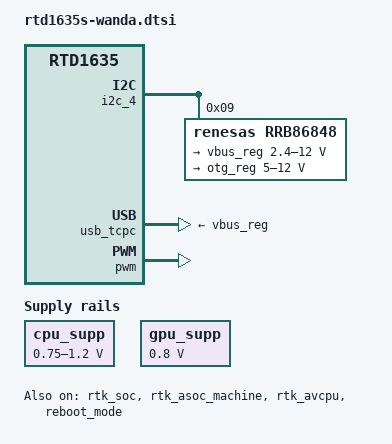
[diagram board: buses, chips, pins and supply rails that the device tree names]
// SPDX-License-Identifier: (GPL-2.0-or-later OR BSD-2-Clause)
/*
 * Realtek RTD1635S Wanda EVB
 *
 * Copyright (c) 2025 Realtek Semiconductor Corp.
 */

/dts-v1/;

#include <dt-bindings/thermal/thermal.h>
#include "rtd1635.dtsi"

/ {
	chosen {
		bootargs = "earlycon=uart8250,mmio32,0x98007800 console=ttyS0,460800 8250.nr_uarts=2 8250.share_irqs=1 init=/init loglevel=8 max_loop=64 loop.max_part=7 firmware_class.path=/vendor/firmware/";
		stdout-path = "serial0:460800n8";
	};
};

&rtk_pm {
	wakeup-gpio-list = <120 GPIO_WAKEUP_ENABLE GPIO_WAKEUP_ACTIVE_LOW>,
			   <129 GPIO_WAKEUP_ENABLE GPIO_WAKEUP_ACTIVE_LOW>;
};

&rtk_soc {
	status = "okay";
};

&rtk_asoc_machine {
	pinctrl-names = "default";
	pinctrl-0 = <&ao_i2s0_pins>,
		    <&ao_spdif_pins>,
		    <&pcm_pins>;
	realtek,audio-platform = <&rtk_soc>;
	realtek,dai-link = "RDAI_DL0_FE", "RDAI_DL1_FE", "RDAI_DL2_FE",
			   "RDAI_UL0_FE", "RDAI_UL1_FE",
			   "RDAI_SOC_AO0", "RDAI_SOC_I2S", "RDAI_SOC_I2S0_LOOPBACK";
	status = "okay";
};

&rfkill {
	rfkill-gpios = <&gpio 119 GPIO_ACTIVE_HIGH>;
};

&pcie0 {
	device-power-gpios = <&gpio 136 GPIO_ACTIVE_HIGH>;
};

&hdmi {
	hdcp = <2>;
};

&i2c_0 {
	status = "disabled";
};

&i2c_4 {
	status = "okay";

	/* RRB86848 Buck-Boost Charger */
	rrb86848: charger@12 {
		compatible = "renesas,rrb86848";
		reg = <0x9>;

		regulators {
			#address-cells = <1>;
			#size-cells = <0>;

			vbus_reg: rrb86848-vbus@0 {
				reg = <0>;
				regulator-name = "usbc-vbus-output";
				regulator-min-microvolt = <2400000>;
				regulator-max-microvolt = <12000000>;
				regulator-min-microamp = <0>;
				regulator-max-microamp = <3000000>;    /* 3A */
				regulator-allow-set-voltage-while-enabled;
			};

			otg_reg: rrb86848-otg@1 {
				reg = <1>;
				regulator-name = "usbc-otg-output";
				regulator-min-microvolt =  <5000000>;
				regulator-max-microvolt = <12000000>;
				regulator-allow-set-voltage-while-enabled;
			};
		};
	};
};

/* link regulators to extcon typec */
&type_c {
	vbus-supply = <&vbus_reg>;  /* rrb86848-vbus */
	otg-supply = <&otg_reg>;   /* rrb86848-otg */

	status = "disabled";
};

/* link regulators to tcpm/tcpc */
&usb_tcpc {
	vbus-supply = <&vbus_reg>;  /* rrb86848-vbus */
	otg-supply = <&otg_reg>;   /* rrb86848-otg */

	status = "okay";
};

&pwm {
	status = "okay";

	pwm-0 {
		enable = <1>;
		clkout_div = <0x6b>;
		clksrc_div = <0x00>;
		duty_rate = <30>;
	};
};


&{/} {
	cpu_supp: cpu-dvs {
		compatible = "pwm-regulator";
		pinctrl-names = "default";
		pinctrl-0 = <&pwm0_loc0_pins>;
		pwms = <&pwm 0 8000>;
		status = "okay";

		regulator-name = "cpudvs";
		regulator-min-microvolt = <750000>;
		regulator-max-microvolt = <1200000>;
		regulator-boot-on;
		regulator-always-on;
		regulator-ramp-delay = <400>;

		voltage-table =
			<1137500 6>,
			<1125000 8>,
			<1112500 11>,
			<1100000 15>,
			<1087500 19>,
			<1075000 22>,
			<1062500 26>,
			<1050000 30>,
			<1037500 32>,
			<1025000 36>,
			<1012500 40>,
			<1000000 43>,
			<987500 46>,
			<975000 50>,
			<962500 54>,
			<950000 57>,
			<937500 60>,
			<925000 64>,
			<912500 68>,
			<900000 71>,
			<887500 74>,
			<875000 78>,
			<862500 81>,
			<850000 84>,
			<837500 88>,
			<825000 92>,
			<812500 94>,
			<800000 98>;
	};

	clk_scpu: clk-scpu {
		compatible = "realtek,rtd1635-scpu-clk";
		realtek,cc = <&cc>;
		#clock-cells = <1>;
	};

	cpu_opps: opp-table-cpu {
		compatible = "operating-points-v2";
		opp-shared;

		opp-1000000000 {
			opp-hz = /bits/ 64 <1000000000>;
			opp-microvolt = <825000 825000 1100000>;
			clock-latency-ns = <150000>;
			status = "okay";
		};
		opp-1100000000 {
			opp-hz = /bits/ 64 <1100000000>;
			opp-microvolt = <900000 900000 1100000>;
			clock-latency-ns = <150000>;
			status = "okay";
		};
		opp-1200000000 {
			opp-hz = /bits/ 64 <1200000000>;
			opp-microvolt = <925000 925000 1100000>;
			clock-latency-ns = <150000>;
			status = "okay";
		};
		opp-1300000000 {
			opp-hz = /bits/ 64 <1300000000>;
			opp-microvolt = <950000 950000 1100000>;
			clock-latency-ns = <150000>;
			status = "okay";
		};
		opp-1400000000 {
			opp-hz = /bits/ 64 <1400000000>;
			opp-microvolt = <975000 975000 1100000>;
			clock-latency-ns = <150000>;
			status = "okay";
		};
		opp-1500000000 {
			opp-hz = /bits/ 64 <1500000000>;
			opp-microvolt = <1000000 1000000 1100000>;
			clock-latency-ns = <150000>;
			status = "okay";
			opp-suspend;
		};
		opp-1600000000 {
			opp-hz = /bits/ 64 <1600000000>;
			opp-microvolt = <1025000 1025000 1100000>;
			clock-latency-ns = <150000>;
			status = "okay";
		};
		opp-1700000000 {
			opp-hz = /bits/ 64 <1700000000>;
			opp-microvolt = <1050000 1050000 1100000>;
			clock-latency-ns = <150000>;
			status = "okay";
		};
	};

	cpu3_opps: opp-table-cpu3 {
		compatible = "operating-points-v2";
		opp-shared;
		opp-1000000000 {
			opp-hz = /bits/ 64 <1000000000>;
			opp-microvolt = <825000 825000 1100000>;
			clock-latency-ns = <150000>;
			status = "okay";
		};
		opp-1100000000 {
			opp-hz = /bits/ 64 <1100000000>;
			opp-microvolt = <850000 850000 1100000>;
			clock-latency-ns = <150000>;
			status = "okay";
		};
		opp-1200000000 {
			opp-hz = /bits/ 64 <1200000000>;
			opp-microvolt = <875000 875000 1100000>;
			clock-latency-ns = <150000>;
			status = "okay";
		};
		opp-1300000000 {
			opp-hz = /bits/ 64 <1300000000>;
			opp-microvolt = <900000 900000 1100000>;
			clock-latency-ns = <150000>;
			status = "okay";
		};
		opp-1400000000 {
			opp-hz = /bits/ 64 <1400000000>;
			opp-microvolt = <925000 925000 1100000>;
			clock-latency-ns = <150000>;
			status = "okay";
		};
		opp-1500000000 {
			opp-hz = /bits/ 64 <1500000000>;
			opp-microvolt = <950000 950000 1100000>;
			clock-latency-ns = <150000>;
			status = "okay";
		};
		opp-1600000000 {
			opp-hz = /bits/ 64 <1600000000>;
			opp-microvolt = <975000 975000 1100000>;
			clock-latency-ns = <150000>;
			status = "okay";
		};
		opp-1700000000 {
			opp-hz = /bits/ 64 <1700000000>;
			opp-microvolt = <1000000 1000000 1100000>;
			clock-latency-ns = <150000>;
			status = "okay";
			opp-suspend;
		};
		opp-1800000000 {
			opp-hz = /bits/ 64 <1800000000>;
			opp-microvolt = <1025000 1025000 1100000>;
			clock-latency-ns = <150000>;
			status = "okay";
		};
		opp-1900000000 {
			opp-hz = /bits/ 64 <1900000000>;
			opp-microvolt = <1050000 1050000 1100000>;
			clock-latency-ns = <150000>;
			status = "okay";
		};
	};
};

&cpu0 {
	clocks = <&clk_scpu 0>;
	cpu-supply = <&cpu_supp>;
	operating-points-v2 = <&cpu_opps>;
	#cooling-cells = <2>;
};

&cpu1 {
	clocks = <&clk_scpu 0>;
	cpu-supply = <&cpu_supp>;
	operating-points-v2 = <&cpu_opps>;
	#cooling-cells = <2>;
};

&cpu2 {
	clocks = <&clk_scpu 0>;
	cpu-supply = <&cpu_supp>;
	operating-points-v2 = <&cpu_opps>;
	#cooling-cells = <2>;
};

&cpu3 {
	clocks = <&clk_scpu 1>;
	cpu-supply = <&cpu_supp>;
	operating-points-v2 = <&cpu3_opps>;
	#cooling-cells = <2>;
};

&gpu {
	mali-supply = <&gpu_supp>;
	shadercores-supply = <&gpu_supp>;
	operating-points-v2 = <&gpu_opps>;
};

&rtk_avcpu {
	status = "okay";
};

&{/} {
	gpu_supp: fixed-gpu {
		compatible = "regulator-fixed";
		regulator-name = "gpu";
		regulator-min-microvolt = <800000>;
		regulator-max-microvolt = <800000>;
	};

	gpu_opps: opp-table-gpu {
		compatible = "operating-points-v2", "operating-points-v2-mali";

		opp-405000000 {
			opp-hz = /bits/ 64 <405000000>;
			opp-hz-real = /bits/ 64 <405000000>;
			opp-microvolt = <800000>, <800000>;
			opp-suspend;
		};

		opp-540000000 {
			opp-hz = /bits/ 64 <540000000>;
			opp-hz-real = /bits/ 64 <540000000>;
			opp-microvolt = <800000>, <800000>;
		};

		opp-729000000 {
			opp-hz = /bits/ 64 <729000000>;
			opp-hz-real = /bits/ 64 <729000000>;
			opp-microvolt = <800000>, <800000>;
		};

		opp-850500000 {
			opp-hz = /bits/ 64 <850500000>;
			opp-hz-real = /bits/ 64 <850500000>;
			opp-microvolt = <800000>, <800000>;
		};
	};
};

&reboot_mode {
	status = "okay";
};
